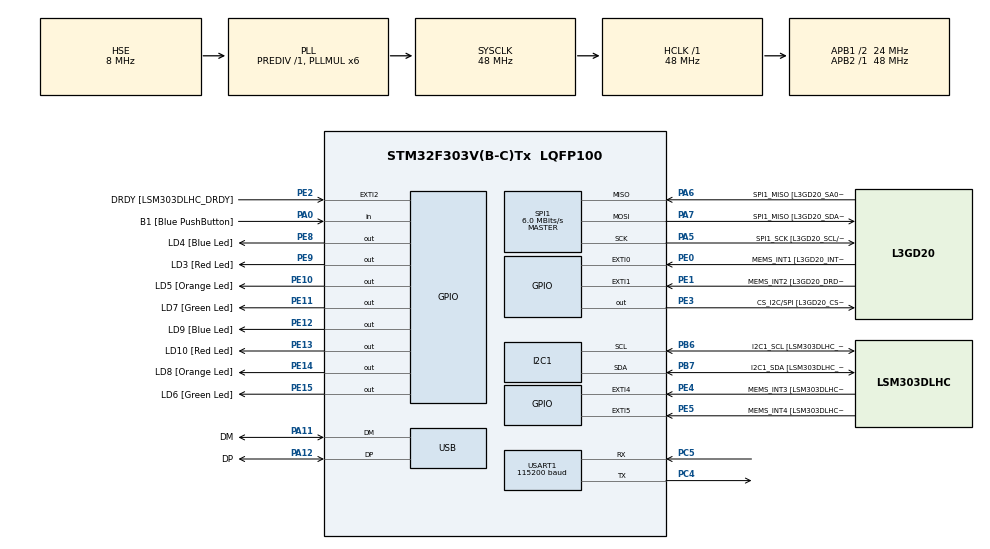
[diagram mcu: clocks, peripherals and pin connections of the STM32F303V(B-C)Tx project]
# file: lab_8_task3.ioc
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I2C1.Timing=0x2000090E
I2C1.Timing-I2C=0x2000090E
Mcu.Family=STM32F3
Mcu.Name=STM32F303V(B-C)Tx
Mcu.Package=LQFP100
NVIC.PriorityGroup=NVIC_PRIORITYGROUP_0
NVIC.SPI1_IRQn=true\:0\:0\:false\:false\:true\:true\:true\:true
PA0.GPIO_Label=B1 [Blue PushButton]
PA0.Signal=GPIO_Input
PA11.GPIO_Label=DM
PA11.Mode=Device
PA11.Signal=USB_DM
PA12.GPIO_Label=DP
PA12.Mode=Device
PA12.Signal=USB_DP
PA13.GPIO_Label=SWDIO
PA13.Mode=Serial_Wire
PA13.Signal=SYS_JTMS-SWDIO
PA14.GPIO_Label=SWCLK
PA14.Mode=Serial_Wire
PA14.Signal=SYS_JTCK-SWCLK
PA5.GPIO_Label=SPI1_SCK [L3GD20_SCL/SPC]
PA5.Mode=Full_Duplex_Master
PA5.Signal=SPI1_SCK
PA6.GPIO_Label=SPI1_MISO [L3GD20_SA0/SDO]
PA6.Mode=Full_Duplex_Master
PA6.Signal=SPI1_MISO
PA7.GPIO_Label=SPI1_MISO [L3GD20_SDA/SDI/SDO]
PA7.Mode=Full_Duplex_Master
PA7.Signal=SPI1_MOSI
PB3.GPIO_Label=SWO
PB3.Signal=SYS_JTDO-TRACESWO
PB6.GPIO_Label=I2C1_SCL [LSM303DLHC_SCL]
PB6.GPIO_Pu=GPIO_PULLUP
PB6.Mode=I2C
PB6.Signal=I2C1_SCL
PB7.GPIO_Label=I2C1_SDA [LSM303DLHC_SDA]
PB7.GPIO_Pu=GPIO_PULLUP
PB7.Mode=I2C
PB7.Signal=I2C1_SDA
PC14-OSC32_IN.GPIO_Label=OSC32_IN
PC14-OSC32_IN.Signal=RCC_OSC32_IN
PC15-OSC32_OUT.GPIO_Label=OSC32_OUT
PC15-OSC32_OUT.Signal=RCC_OSC32_OUT
PC4.Mode=Asynchronous
PC4.Signal=USART1_TX
PC5.Mode=Asynchronous
PC5.Signal=USART1_RX
PE0.GPIO_Label=MEMS_INT1 [L3GD20_INT1]
PE0.GPIO_ModeDefaultEXTI=GPIO_MODE_EVT_RISING
PE0.Signal=GPXTI0
PE1.GPIO_Label=MEMS_INT2 [L3GD20_DRDY/INT2]
PE1.GPIO_ModeDefaultEXTI=GPIO_MODE_EVT_RISING
PE1.Signal=GPXTI1
PE10.GPIO_Label=LD5 [Orange Led]
PE10.Signal=GPIO_Output
PE11.GPIO_Label=LD7 [Green Led]
PE11.Signal=GPIO_Output
PE12.GPIO_Label=LD9 [Blue Led]
PE12.Signal=GPIO_Output
PE13.GPIO_Label=LD10 [Red Led]
PE13.Signal=GPIO_Output
PE14.GPIO_Label=LD8 [Orange Led]
PE14.Signal=GPIO_Output
PE15.GPIO_Label=LD6 [Green Led]
PE15.Signal=GPIO_Output
PE2.GPIO_Label=DRDY [LSM303DLHC_DRDY]
PE2.GPIO_ModeDefaultEXTI=GPIO_MODE_EVT_RISING
PE2.Signal=GPXTI2
PE3.GPIO_Label=CS_I2C/SPI [L3GD20_CS_I2C/SPI]
PE3.Signal=GPIO_Output
PE4.GPIO_Label=MEMS_INT3 [LSM303DLHC_INT1]
PE4.GPIO_ModeDefaultEXTI=GPIO_MODE_EVT_RISING
PE4.Signal=GPXTI4
PE5.GPIO_Label=MEMS_INT4 [LSM303DLHC_INT2]
PE5.GPIO_ModeDefaultEXTI=GPIO_MODE_EVT_RISING
PE5.Signal=GPXTI5
PE8.GPIO_Label=LD4 [Blue Led]
PE8.Signal=GPIO_Output
PE9.GPIO_Label=LD3 [Red Led]
PE9.Signal=GPIO_Output
PF0-OSC_IN.GPIO_Label=OSC_IN
PF0-OSC_IN.Mode=HSE-External-Clock-Source
PF0-OSC_IN.Signal=RCC_OSC_IN
PF1-OSC_OUT.GPIO_Label=OSC_OUT
PF1-OSC_OUT.Signal=RCC_OSC_OUT
ProjectManager.HeapSize=0x200
ProjectManager.StackSize=0x400
ProjectManager.TargetToolchain=CMake
RCC.AHBFreq_Value=48000000
RCC.APB1CLKDivider=RCC_HCLK_DIV2
RCC.APB1Freq_Value=24000000
RCC.APB1TimFreq_Value=48000000
RCC.APB2Freq_Value=48000000
RCC.APB2TimFreq_Value=48000000
RCC.CortexFreq_Value=48000000
RCC.HCLKFreq_Value=48000000
RCC.HSE_VALUE=8000000
RCC.HSI_VALUE=8000000
RCC.LSE_VALUE=32768
RCC.PLLMUL=RCC_PLL_MUL6
RCC.SYSCLKFreq_VALUE=48000000
RCC.SYSCLKSourceVirtual=RCC_SYSCLKSOURCE_PLLCLK
RCC.USBFreq_Value=48000000
SPI1.BaudRatePrescaler=SPI_BAUDRATEPRESCALER_8
SPI1.BaudRatePrescaler-Full_Duplex_Master=SPI_BAUDRATEPRESCALER_2
SPI1.CLKPhase=SPI_PHASE_2EDGE
SPI1.CLKPolarity=SPI_POLARITY_HIGH
SPI1.CalculateBaudRate=6.0 MBits/s
SPI1.CalculateBaudRate-Full_Duplex_Master=24.0 MBits/s
SPI1.DataSize=SPI_DATASIZE_8BIT
SPI1.Direction=SPI_DIRECTION_2LINES
SPI1.Mode=SPI_MODE_MASTER
SPI1.Mode-Full_Duplex_Master=SPI_MODE_MASTER
SPI1.VirtualType=VM_MASTER
USART1.BaudRate=115200
USART1.VirtualMode-Asynchronous=VM_ASYNC
board=STM32F3DISCOVERY

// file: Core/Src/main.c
/* USER CODE BEGIN Header */
/**
  ******************************************************************************
  * @file           : main.c
  * @brief          : Main program body
  ******************************************************************************
  * @attention
  *
  * Copyright (c) 2026 STMicroelectronics.
  * All rights reserved.
  *
  * This software is licensed under terms that can be found in the LICENSE file
  * in the root directory of this software component.
  * If no LICENSE file comes with this software, it is provided AS-IS.
  *
  ******************************************************************************
  */
/* USER CODE END Header */
#include "main.h"

I2C_HandleTypeDef hi2c1;

SPI_HandleTypeDef hspi1;

UART_HandleTypeDef huart1;

PCD_HandleTypeDef hpcd_USB_FS;

/* USER CODE BEGIN PV */
#define CTRL_REG1 0x20 // Control register 1
#define CTRL_REG1_VAL 0x0F // Power on, X/Y/Z axes enabled
#define CTRL_REG4 0x23 // Control register 4 (Sensitivity/FS)
#define CTRL_REG4_VAL 0x00 // FS [1:0] = 00 => +/- 245 dps
#define TEMP_REG 0x26 // Temperature output register
// Calibration offsets
int16_t x_offset = 0, y_offset = 0, z_offset = 0;
/* USER CODE END PV */

void SystemClock_Config(void);
static void MX_GPIO_Init(void);
static void MX_I2C1_Init(void);
static void MX_SPI1_Init(void);
static void MX_USART1_UART_Init(void);
static void MX_USB_PCD_Init(void);

/* USER CODE BEGIN 0 */
int _write(int file, char *ptr, int len) {
  HAL_UART_Transmit(&huart1, (uint8_t *)ptr, len, HAL_MAX_DELAY);
  return len;
}

void gyro_init(void) {
  uint8_t tx[2] = { CTRL_REG1, CTRL_REG1_VAL };
  HAL_GPIO_WritePin(GPIOE, CS_I2C_SPI_Pin, GPIO_PIN_RESET); // CS LOW
  HAL_SPI_Transmit(&hspi1, tx, 2, HAL_MAX_DELAY);
  HAL_GPIO_WritePin(GPIOE, CS_I2C_SPI_Pin, GPIO_PIN_SET); // CS HIGH
}

void gyro_set_ctrl_reg4(void) {
  uint8_t tx[2] = { CTRL_REG4, CTRL_REG4_VAL };
  HAL_GPIO_WritePin(GPIOE, CS_I2C_SPI_Pin, GPIO_PIN_RESET); // CS LOW
  HAL_SPI_Transmit(&hspi1, tx, 2, HAL_MAX_DELAY);
  HAL_GPIO_WritePin(GPIOE, CS_I2C_SPI_Pin, GPIO_PIN_SET); // CS HIGH
}

uint8_t spi_read(uint8_t reg) {
  uint8_t tx[2];
  uint8_t rx[2];
  tx[0] = reg | 0x80; // Read command (MSB = 1)
  tx[1] = 0x00;
  HAL_GPIO_WritePin(GPIOE, CS_I2C_SPI_Pin, GPIO_PIN_RESET);
  HAL_SPI_TransmitReceive(&hspi1, tx, rx, 2, HAL_MAX_DELAY);
  HAL_GPIO_WritePin(GPIOE, CS_I2C_SPI_Pin, GPIO_PIN_SET);
  return rx[1];
}

void gyro_calibrate(void) {
  int32_t x_sum = 0, y_sum = 0, z_sum = 0;
  const int samples = 30;
  for(int i = 0; i < samples; i++) {
    int16_t x = (int16_t)(spi_read(0x29) << 8 | spi_read(0x28));
    int16_t y = (int16_t)(spi_read(0x2B) << 8 | spi_read(0x2A));
    int16_t z = (int16_t)(spi_read(0x2D) << 8 | spi_read(0x2C));
    x_sum += x;
    y_sum += y;
    z_sum += z;
    HAL_Delay(5);
  }
  x_offset = x_sum / samples;
  y_offset = y_sum / samples;
  z_offset = z_sum / samples;
}
/* USER CODE END 0 */

int main(void)
{

  /* MCU Configuration--------------------------------------------------------*/

  /* Reset of all peripherals, Initializes the Flash interface and the Systick. */
  HAL_Init();

  /* Configure the system clock */
  SystemClock_Config();

  /* Initialize all configured peripherals */
  MX_GPIO_Init();
  MX_I2C1_Init();
  MX_SPI1_Init();
  MX_USART1_UART_Init();
  MX_USB_PCD_Init();

  /* Infinite loop */
  while (1)
  {

  }
}

void SystemClock_Config(void)
{
  RCC_OscInitTypeDef RCC_OscInitStruct = {0};
  RCC_ClkInitTypeDef RCC_ClkInitStruct = {0};
  RCC_PeriphCLKInitTypeDef PeriphClkInit = {0};

  /** Initializes the RCC Oscillators according to the specified parameters
  * in the RCC_OscInitTypeDef structure.
  */
  RCC_OscInitStruct.OscillatorType = RCC_OSCILLATORTYPE_HSI|RCC_OSCILLATORTYPE_HSE;
  RCC_OscInitStruct.HSEState = RCC_HSE_BYPASS;
  RCC_OscInitStruct.HSEPredivValue = RCC_HSE_PREDIV_DIV1;
  RCC_OscInitStruct.HSIState = RCC_HSI_ON;
  RCC_OscInitStruct.HSICalibrationValue = RCC_HSICALIBRATION_DEFAULT;
  RCC_OscInitStruct.PLL.PLLState = RCC_PLL_ON;
  RCC_OscInitStruct.PLL.PLLSource = RCC_PLLSOURCE_HSE;
  RCC_OscInitStruct.PLL.PLLMUL = RCC_PLL_MUL6;
  if (HAL_RCC_OscConfig(&RCC_OscInitStruct) != HAL_OK)
  {
    Error_Handler();
  }

  /** Initializes the CPU, AHB and APB buses clocks
  */
  RCC_ClkInitStruct.ClockType = RCC_CLOCKTYPE_HCLK|RCC_CLOCKTYPE_SYSCLK
                              |RCC_CLOCKTYPE_PCLK1|RCC_CLOCKTYPE_PCLK2;
  RCC_ClkInitStruct.SYSCLKSource = RCC_SYSCLKSOURCE_PLLCLK;
  RCC_ClkInitStruct.AHBCLKDivider = RCC_SYSCLK_DIV1;
  RCC_ClkInitStruct.APB1CLKDivider = RCC_HCLK_DIV2;
  RCC_ClkInitStruct.APB2CLKDivider = RCC_HCLK_DIV1;

  if (HAL_RCC_ClockConfig(&RCC_ClkInitStruct, FLASH_LATENCY_1) != HAL_OK)
  {
    Error_Handler();
  }
  PeriphClkInit.PeriphClockSelection = RCC_PERIPHCLK_USB|RCC_PERIPHCLK_USART1
                              |RCC_PERIPHCLK_I2C1;
  PeriphClkInit.Usart1ClockSelection = RCC_USART1CLKSOURCE_PCLK2;
  PeriphClkInit.I2c1ClockSelection = RCC_I2C1CLKSOURCE_HSI;
  PeriphClkInit.USBClockSelection = RCC_USBCLKSOURCE_PLL;
  if (HAL_RCCEx_PeriphCLKConfig(&PeriphClkInit) != HAL_OK)
  {
    Error_Handler();
  }
}

static void MX_I2C1_Init(void)
{

  hi2c1.Instance = I2C1;
  hi2c1.Init.Timing = 0x2000090E;
  hi2c1.Init.OwnAddress1 = 0;
  hi2c1.Init.AddressingMode = I2C_ADDRESSINGMODE_7BIT;
  hi2c1.Init.DualAddressMode = I2C_DUALADDRESS_DISABLE;
  hi2c1.Init.OwnAddress2 = 0;
  hi2c1.Init.OwnAddress2Masks = I2C_OA2_NOMASK;
  hi2c1.Init.GeneralCallMode = I2C_GENERALCALL_DISABLE;
  hi2c1.Init.NoStretchMode = I2C_NOSTRETCH_DISABLE;
  if (HAL_I2C_Init(&hi2c1) != HAL_OK)
  {
    Error_Handler();
  }

  /** Configure Analogue filter
  */
  if (HAL_I2CEx_ConfigAnalogFilter(&hi2c1, I2C_ANALOGFILTER_ENABLE) != HAL_OK)
  {
    Error_Handler();
  }

  /** Configure Digital filter
  */
  if (HAL_I2CEx_ConfigDigitalFilter(&hi2c1, 0) != HAL_OK)
  {
    Error_Handler();
  }

}

static void MX_SPI1_Init(void)
{

  /* SPI1 parameter configuration*/
  hspi1.Instance = SPI1;
  hspi1.Init.Mode = SPI_MODE_MASTER;
  hspi1.Init.Direction = SPI_DIRECTION_2LINES;
  hspi1.Init.DataSize = SPI_DATASIZE_8BIT;
  hspi1.Init.CLKPolarity = SPI_POLARITY_HIGH;
  hspi1.Init.CLKPhase = SPI_PHASE_2EDGE;
  hspi1.Init.NSS = SPI_NSS_SOFT;
  hspi1.Init.BaudRatePrescaler = SPI_BAUDRATEPRESCALER_8;
  hspi1.Init.FirstBit = SPI_FIRSTBIT_MSB;
  hspi1.Init.TIMode = SPI_TIMODE_DISABLE;
  hspi1.Init.CRCCalculation = SPI_CRCCALCULATION_DISABLE;
  hspi1.Init.CRCPolynomial = 7;
  hspi1.Init.CRCLength = SPI_CRC_LENGTH_DATASIZE;
  hspi1.Init.NSSPMode = SPI_NSS_PULSE_DISABLE;
  if (HAL_SPI_Init(&hspi1) != HAL_OK)
  {
    Error_Handler();
  }

}

static void MX_USART1_UART_Init(void)
{

  huart1.Instance = USART1;
  huart1.Init.BaudRate = 115200;
  huart1.Init.WordLength = UART_WORDLENGTH_8B;
  huart1.Init.StopBits = UART_STOPBITS_1;
  huart1.Init.Parity = UART_PARITY_NONE;
  huart1.Init.Mode = UART_MODE_TX_RX;
  huart1.Init.HwFlowCtl = UART_HWCONTROL_NONE;
  huart1.Init.OverSampling = UART_OVERSAMPLING_16;
  huart1.Init.OneBitSampling = UART_ONE_BIT_SAMPLE_DISABLE;
  huart1.AdvancedInit.AdvFeatureInit = UART_ADVFEATURE_NO_INIT;
  if (HAL_UART_Init(&huart1) != HAL_OK)
  {
    Error_Handler();
  }

}

static void MX_USB_PCD_Init(void)
{

  hpcd_USB_FS.Instance = USB;
  hpcd_USB_FS.Init.dev_endpoints = 8;
  hpcd_USB_FS.Init.speed = PCD_SPEED_FULL;
  hpcd_USB_FS.Init.phy_itface = PCD_PHY_EMBEDDED;
  hpcd_USB_FS.Init.low_power_enable = DISABLE;
  hpcd_USB_FS.Init.battery_charging_enable = DISABLE;
  if (HAL_PCD_Init(&hpcd_USB_FS) != HAL_OK)
  {
    Error_Handler();
  }

}

static void MX_GPIO_Init(void)
{
  GPIO_InitTypeDef GPIO_InitStruct = {0};

  /* GPIO Ports Clock Enable */
  __HAL_RCC_GPIOE_CLK_ENABLE();
  __HAL_RCC_GPIOC_CLK_ENABLE();
  __HAL_RCC_GPIOF_CLK_ENABLE();
  __HAL_RCC_GPIOA_CLK_ENABLE();
  __HAL_RCC_GPIOB_CLK_ENABLE();

  /*Configure GPIO pin Output Level */
  HAL_GPIO_WritePin(GPIOE, CS_I2C_SPI_Pin|LD4_Pin|LD3_Pin|LD5_Pin
                          |LD7_Pin|LD9_Pin|LD10_Pin|LD8_Pin
                          |LD6_Pin, GPIO_PIN_RESET);

  /*Configure GPIO pins : DRDY_Pin MEMS_INT3_Pin MEMS_INT4_Pin MEMS_INT1_Pin
                           MEMS_INT2_Pin */
  GPIO_InitStruct.Pin = DRDY_Pin|MEMS_INT3_Pin|MEMS_INT4_Pin|MEMS_INT1_Pin
                          |MEMS_INT2_Pin;
  GPIO_InitStruct.Mode = GPIO_MODE_EVT_RISING;
  GPIO_InitStruct.Pull = GPIO_NOPULL;
  HAL_GPIO_Init(GPIOE, &GPIO_InitStruct);

  /*Configure GPIO pins : CS_I2C_SPI_Pin LD4_Pin LD3_Pin LD5_Pin
                           LD7_Pin LD9_Pin LD10_Pin LD8_Pin
                           LD6_Pin */
  GPIO_InitStruct.Pin = CS_I2C_SPI_Pin|LD4_Pin|LD3_Pin|LD5_Pin
                          |LD7_Pin|LD9_Pin|LD10_Pin|LD8_Pin
                          |LD6_Pin;
  GPIO_InitStruct.Mode = GPIO_MODE_OUTPUT_PP;
  GPIO_InitStruct.Pull = GPIO_NOPULL;
  GPIO_InitStruct.Speed = GPIO_SPEED_FREQ_LOW;
  HAL_GPIO_Init(GPIOE, &GPIO_InitStruct);

  /*Configure GPIO pin : B1_Pin */
  GPIO_InitStruct.Pin = B1_Pin;
  GPIO_InitStruct.Mode = GPIO_MODE_INPUT;
  GPIO_InitStruct.Pull = GPIO_NOPULL;
  HAL_GPIO_Init(B1_GPIO_Port, &GPIO_InitStruct);

}

void Error_Handler(void)
{
  __disable_irq();
  while (1)
  {
  }
}
